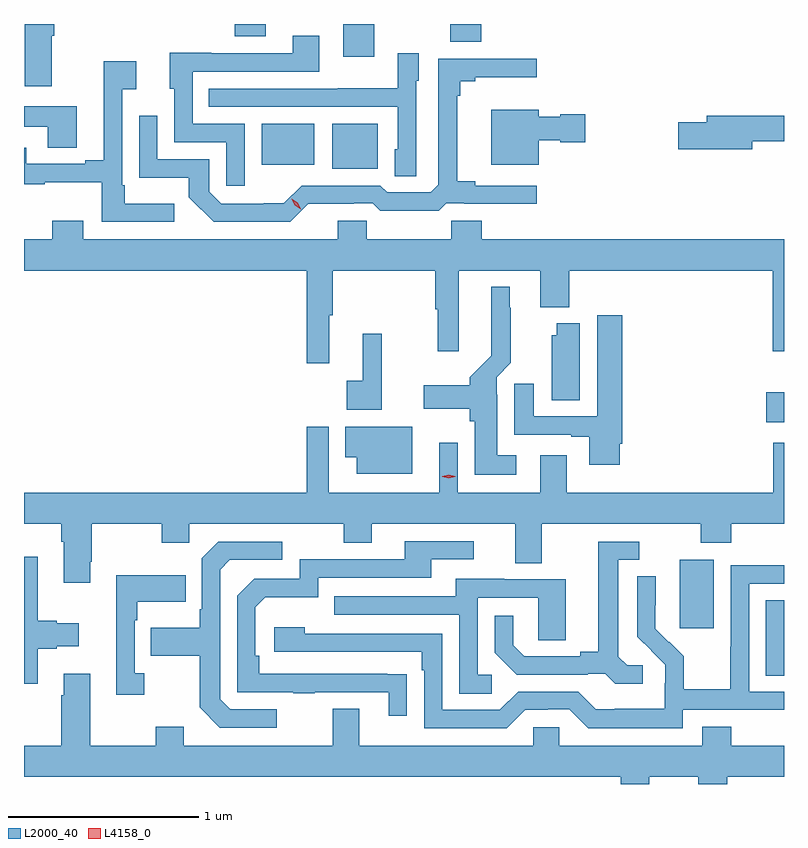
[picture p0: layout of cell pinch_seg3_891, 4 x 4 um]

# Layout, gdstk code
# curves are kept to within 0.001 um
import gdstk
lib = gdstk.Library(unit=1e-6, precision=1e-09)
def R(c, l, rs):  # rectangles x0, y0, x1, y1
    for r in rs: c.add(gdstk.rectangle(r[:2], r[2:], *l))
def P(c, l, *ps):  # polygons
    for p in ps: c.add(gdstk.Polygon(p, *l))
L2000_40 = (2000, 40)
L4158_0 = (4158, 0)

pinch_seg3_891 = lib.new_cell('pinch_seg3_891')
R(pinch_seg3_891, L2000_40, [(808.931,696.121,809.026,696.518), (808.478,696.369,808.657,696.73), (808.932,697.454,809.026,697.612), (806.648,698.789,806.887,699.025), (806.276,698.81,806.554,699.025), (806.705,699.378,806.869,699.55), (807.269,699.456,807.433,699.55), (806.135,699.485,806.299,699.55)])
P(pinch_seg3_891, L2000_40, [(805.171,699.488),(805.184,699.488),(805.184,699.55),(805.031,699.55),(805.031,699.222),(805.171,699.222)],
  [(806.187,699.024),(805.914,699.024),(805.914,699.3),(806.581,699.3),(806.581,699.487),(806.441,699.487),(806.441,699.396),(806.011,699.396),(806.011,699.398),(805.793,699.398),(805.793,699.21),(805.818,699.21),(805.818,698.928),(806.091,698.928),(806.091,698.7),(806.187,698.7)],
  [(807.09,699.252),(807.103,699.252),(807.103,699.397),(806.994,699.397),(806.994,699.211),(806.677,699.211),(806.677,699.21),(805.999,699.21),(805.999,699.114),(806.994,699.114),(806.994,698.892),(806.978,698.892),(806.978,698.749),(807.09,698.749)],
  [(806.522,698.603),(806.762,698.603),(806.762,698.607),(806.862,698.607),(806.902,698.568),(807.209,698.568),(807.249,698.607),(807.343,698.607),(807.343,698.603),(807.724,698.603),(807.724,698.7),(807.4,698.7),(807.4,698.723),(807.305,698.723),(807.305,699.173),(807.323,699.173),(807.323,699.25),(807.4,699.25),(807.4,699.269),(807.724,699.269),(807.724,699.366),(807.207,699.366),(807.207,698.703),(807.168,698.664),(806.937,698.664),(806.901,698.7),(806.487,698.7),(806.393,698.606),(806.288,698.606),(806.288,698.604),(806.064,698.604),(806.001,698.667),(806.001,698.838),(805.728,698.838),(805.728,699.067),(805.632,699.067),(805.632,698.741),(805.894,698.741),(805.894,698.639),(806.024,698.508),(806.427,698.508)],
  [(805.816,698.605),(805.555,698.605),(805.555,698.701),(805.542,698.701),(805.542,699.206),(805.618,699.206),(805.618,699.355),(805.445,699.355),(805.445,698.833),(805.349,698.833),(805.349,698.814),(805.039,698.814),(805.039,698.899),(805.026,698.899),(805.026,698.706),(805.135,698.706),(805.135,698.717),(805.434,698.717),(805.434,698.508),(805.816,698.508)],
  [(805.303,699.118),(805.026,699.118),(805.026,699.008),(805.151,699.008),(805.151,698.899),(805.303,698.899)],
  [(807.736,698.939),(807.849,698.939),(807.849,698.927),(807.979,698.927),(807.979,699.074),(807.849,699.074),(807.849,699.061),(807.736,699.061),(807.736,699.1),(807.485,699.1),(807.485,698.81),(807.736,698.81)],
  [(808.858,698.932),(809.026,698.932),(809.026,699.068),(808.619,699.068),(808.619,699.032),(808.47,699.032),(808.47,698.89),(808.858,698.89)],
  [(806.633,698.016),(806.651,698.016),(806.651,698.252),(807.191,698.252),(807.191,698.048),(807.203,698.048),(807.203,697.827),(807.313,697.827),(807.313,698.252),(807.743,698.252),(807.743,698.06),(807.896,698.06),(807.896,698.252),(808.967,698.252),(808.967,697.827),(809.026,697.827),(809.026,698.416),(807.434,698.416),(807.434,698.514),(807.274,698.514),(807.274,698.416),(806.829,698.416),(806.829,698.514),(806.678,698.514),(806.678,698.416),(805.339,698.416),(805.339,698.515),(805.175,698.515),(805.175,698.416),(805.026,698.416),(805.026,698.252),(806.515,698.252),(806.515,697.764),(806.633,697.764)],
  [(807.616,697.279),(807.517,697.279),(807.517,697.598),(807.513,697.598),(807.513,697.692),(807.587,697.766),(807.587,698.057),(807.583,698.057),(807.583,698.167),(807.485,698.167),(807.486,697.804),(807.373,697.691),(807.373,697.648),(807.129,697.648),(807.129,697.526),(807.373,697.526),(807.373,697.458),(807.398,697.458),(807.398,697.178),(807.616,697.178)],
  [(808.162,697.342),(808.175,697.342),(808.175,698.017),(808.043,698.017),(808.043,697.485),(807.709,697.485),(807.709,697.657),(807.605,697.657),(807.605,697.389),(807.905,697.389),(807.905,697.377),(808.001,697.377),(808.001,697.23),(808.162,697.23)],
  [(807.952,697.975),(807.83,697.975),(807.83,697.911),(807.803,697.911),(807.803,697.57),(807.952,697.57)],
  [(806.91,697.921),(806.81,697.921),(806.81,697.673),(806.724,697.673),(806.724,697.52),(806.91,697.52)],
  [(807.07,697.429),(806.716,697.429),(806.716,697.271),(806.777,697.271),(806.777,697.184),(807.07,697.184)],
  [(807.883,697.279),(807.743,697.279),(807.743,697.084),(807.309,697.084),(807.309,697.345),(807.212,697.345),(807.212,697.084),(806.631,697.084),(806.631,697.429),(806.515,697.429),(806.515,697.084),(805.026,697.084),(805.026,696.92),(805.223,696.92),(805.223,696.824),(805.235,696.824),(805.235,696.609),(805.375,696.609),(805.375,696.721),(805.383,696.721),(805.383,696.92),(805.75,696.92),(805.75,696.821),(805.896,696.821),(805.896,696.92),(806.71,696.92),(806.71,696.821),(806.857,696.821),(806.857,696.92),(807.611,696.92),(807.611,696.712),(807.751,696.712),(807.751,696.92),(808.588,696.92),(808.588,696.821),(808.748,696.821),(808.748,696.92),(809.026,696.92),(809.026,697.345),(808.969,697.345),(808.969,697.084),(807.883,697.084)],
  [(807.041,696.128),(806.264,696.129),(806.264,696.226),(806.244,696.226),(806.244,696.48),(806.297,696.533),(806.574,696.533),(806.574,696.636),(807.169,696.636),(807.169,696.732),(807.394,696.732),(807.394,696.828),(807.029,696.828),(807.029,696.732),(806.478,696.732),(806.478,696.63),(806.238,696.63),(806.148,696.54),(806.148,696.033),(806.443,696.033),(806.443,696.028),(806.555,696.028),(806.555,696.033),(806.945,696.033),(806.945,695.91),(807.041,695.91)],
  [(808.282,696.174),(808.2,696.174),(808.153,696.221),(808.153,696.729),(808.264,696.729),(808.264,696.825),(808.049,696.825),(808.049,696.245),(807.953,696.245),(807.953,696.222),(807.658,696.222),(807.601,696.279),(807.601,696.436),(807.504,696.436),(807.504,696.242),(807.62,696.126),(807.992,696.126),(807.992,696.129),(808.086,696.129),(808.138,696.077),(808.282,696.077)],
  [(806.356,695.943),(806.112,695.943),(806.058,695.997),(806.058,696.678),(806.109,696.729),(806.386,696.729),(806.386,696.825),(806.049,696.825),(805.962,696.738),(805.962,696.469),(805.95,696.469),(805.95,696.373),(805.693,696.373),(805.693,696.226),(805.95,696.226),(805.95,695.953),(806.055,695.847),(806.356,695.847)],
  [(805.099,696.263),(805.199,696.263),(805.199,696.275),(805.315,696.275),(805.315,696.397),(805.199,696.397),(805.199,696.41),(805.099,696.41),(805.099,696.745),(805.026,696.745),(805.026,696.078),(805.099,696.078)],
  [(808.494,695.94),(809.026,695.94),(809.026,696.036),(808.842,696.036),(808.842,696.603),(809.026,696.603),(809.026,696.702),(808.746,696.702),(808.746,696.272),(808.744,696.272),(808.744,696.049),(808.499,696.049),(808.499,696.223),(808.422,696.3),(808.419,696.297),(808.349,696.368),(808.35,696.644),(808.254,696.644),(808.254,696.326),(808.4,696.178),(808.4,696.081),(808.398,696.081),(808.398,695.947),(808.135,695.947),(808.135,695.943),(808.035,695.943),(807.942,696.036),(807.627,696.036),(807.531,695.94),(807.228,695.94),(807.228,696.342),(806.504,696.342),(806.504,696.376),(806.343,696.376),(806.343,696.246),(807.119,696.246),(807.119,696.149),(807.132,696.149),(807.132,695.844),(807.567,695.844),(807.663,695.94),(807.782,695.94),(807.782,695.943),(807.897,695.943),(807.997,695.843),(808.494,695.843)],
  [(805.66,696.134),(805.608,696.134),(805.608,696.413),(805.621,696.413),(805.621,696.509),(805.877,696.509),(805.877,696.649),(805.511,696.649),(805.511,696.021),(805.66,696.021)],
  [(807.487,696.126),(807.414,696.126),(807.414,696.531),(807.732,696.531),(807.732,696.307),(807.877,696.307),(807.877,696.627),(807.553,696.627),(807.553,696.631),(807.299,696.631),(807.299,696.537),(806.659,696.537),(806.659,696.441),(807.318,696.441),(807.318,696.025),(807.487,696.025)],
  [(807.843,695.85),(807.705,695.85),(807.705,695.752),(806.791,695.752),(806.791,695.947),(806.651,695.947),(806.651,695.752),(805.867,695.752),(805.867,695.851),(805.72,695.851),(805.72,695.752),(805.375,695.752),(805.375,696.13),(805.235,696.13),(805.235,696.017),(805.223,696.017),(805.223,695.752),(805.026,695.752),(805.026,695.588),(808.166,695.588),(808.166,695.55),(808.318,695.55),(808.318,695.588),(808.574,695.588),(808.574,695.55),(808.727,695.55),(808.727,695.588),(809.026,695.588),(809.026,695.752),(808.748,695.752),(808.748,695.851),(808.595,695.851),(808.595,695.752),(807.843,695.752)])
P(pinch_seg3_891, L4158_0, [(807.261,697.158),(807.226,697.168),(807.226,697.168),(807.226,697.169),(807.261,697.178),(807.296,697.169),(807.297,697.168),(807.296,697.168)],
  [(806.482,698.576),(806.451,698.597),(806.434,698.631),(806.434,698.631),(806.435,698.631),(806.466,698.61),(806.482,698.577),(806.482,698.576)])

lib.write_gds('pinch_seg3_891.gds')
